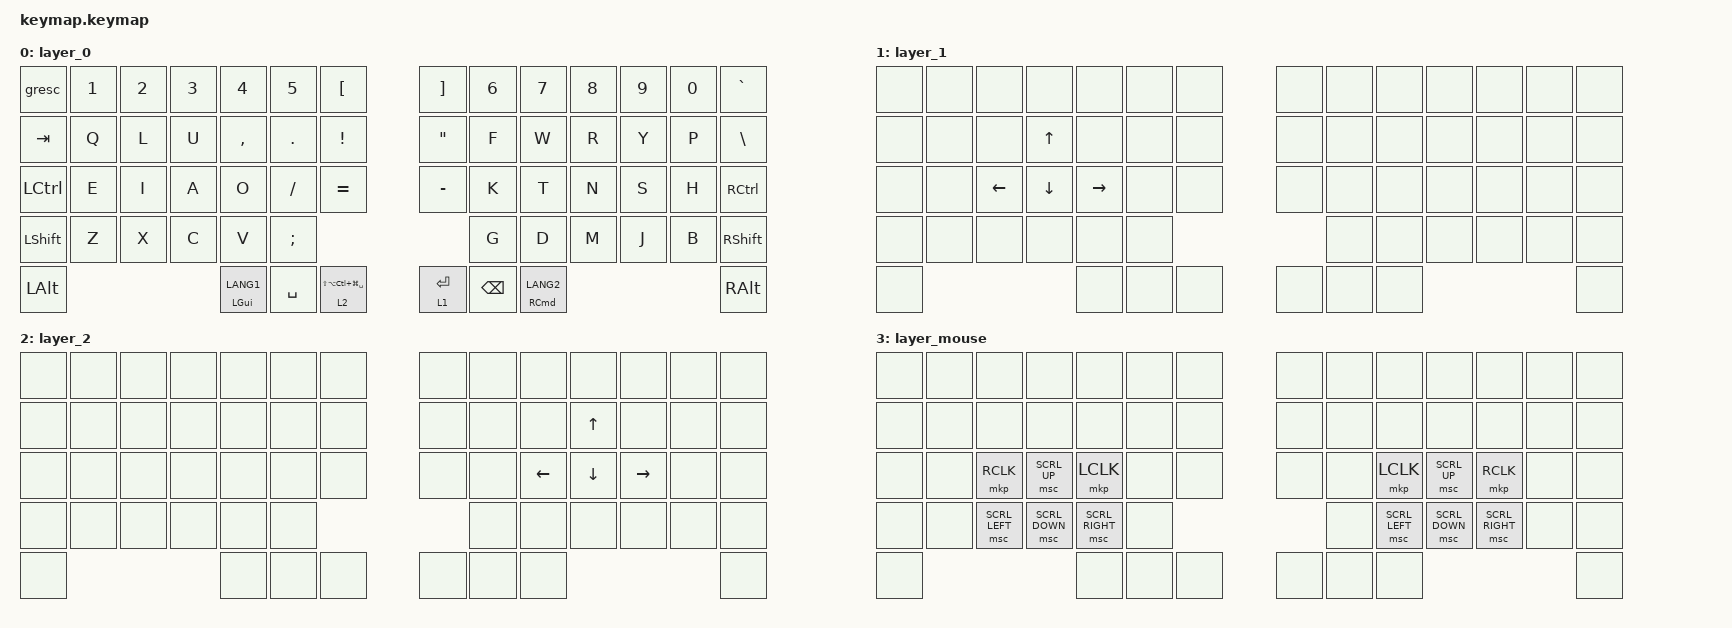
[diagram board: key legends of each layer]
#include "behaviors.dtsi"
#include <dt-bindings/zmk/keys.h>
#include <dt-bindings/zmk/pointing.h>

/ {
    keymap {
        compatible = "zmk,keymap";

        layer_0 {
            bindings = <
&gresc            &kp NUMBER_1  &kp NUMBER_2  &kp NUMBER_3  &kp NUMBER_4        &kp N5         &kp LEFT_BRACKET             &kp RIGHT_BRACKET  &kp NUMBER_6   &kp NUMBER_7             &kp NUMBER_8  &kp NUMBER_9  &kp NUMBER_0  &kp GRAVE
&kp TAB           &kp Q         &kp L         &kp U         &kp COMMA           &kp PERIOD     &kp EXCL                     &kp DOUBLE_QUOTES  &kp F          &kp W                    &kp R         &kp Y         &kp P         &kp BACKSLASH
&kp LEFT_CONTROL  &kp E         &kp I         &kp A         &kp O               &kp SLASH      &kp EQUAL                    &kp MINUS          &kp K          &kp T                    &kp N         &kp S         &kp H         &kp RIGHT_CONTROL
&kp LEFT_SHIFT    &kp Z         &kp X         &kp C         &kp V               &kp SEMICOLON                                                  &kp G          &kp D                    &kp M         &kp J         &kp B         &kp RIGHT_SHIFT
&kp LEFT_ALT                                                &mt LEFT_GUI LANG1  &kp SPACE      &lt 2 LS(LA(LC(LG(SPACE))))  &lt 1 ENTER        &kp BACKSPACE  &mt RIGHT_COMMAND LANG2                                            &kp RIGHT_ALT
            >;
        };

        layer_1 {
            bindings = <
&none  &none  &none           &none           &none            &none  &none  &none  &none  &none  &none  &none  &none  &none
&none  &none  &none           &kp UP_ARROW    &none            &none  &none  &none  &none  &none  &none  &none  &none  &none
&none  &none  &kp LEFT_ARROW  &kp DOWN_ARROW  &kp RIGHT_ARROW  &none  &none  &none  &none  &none  &none  &none  &none  &none
&none  &none  &none           &none           &none            &none                &none  &none  &none  &none  &none  &none
&none                                         &none            &none  &none  &none  &none  &none                       &none
            >;
        };

        layer_2 {
            bindings = <
&none  &none  &none  &none  &none  &none  &none  &none  &none  &none           &none           &none            &none  &none
&none  &none  &none  &none  &none  &none  &none  &none  &none  &none           &kp UP_ARROW    &none            &none  &none
&none  &none  &none  &none  &none  &none  &none  &none  &none  &kp LEFT_ARROW  &kp DOWN_ARROW  &kp RIGHT_ARROW  &none  &none
&none  &none  &none  &none  &none  &none                &none  &none           &none           &none            &none  &none
&none                       &none  &none  &none  &none  &none  &none                                                   &none
            >;
        };

        layer_mouse {
            bindings = <
&none  &none  &none           &none           &none            &none  &none  &none  &none  &none           &none           &none            &none  &none
&none  &none  &none           &none           &none            &none  &none  &none  &none  &none           &none           &none            &none  &none
&none  &none  &mkp RCLK       &msc SCRL_UP    &mkp LCLK        &none  &none  &none  &none  &mkp LCLK       &msc SCRL_UP    &mkp RCLK        &none  &none
&none  &none  &msc SCRL_LEFT  &msc SCRL_DOWN  &msc SCRL_RIGHT  &none                &none  &msc SCRL_LEFT  &msc SCRL_DOWN  &msc SCRL_RIGHT  &none  &none
&none                                         &none            &none  &none  &none  &none  &none                                                   &none
            >;
        };
    };
};
